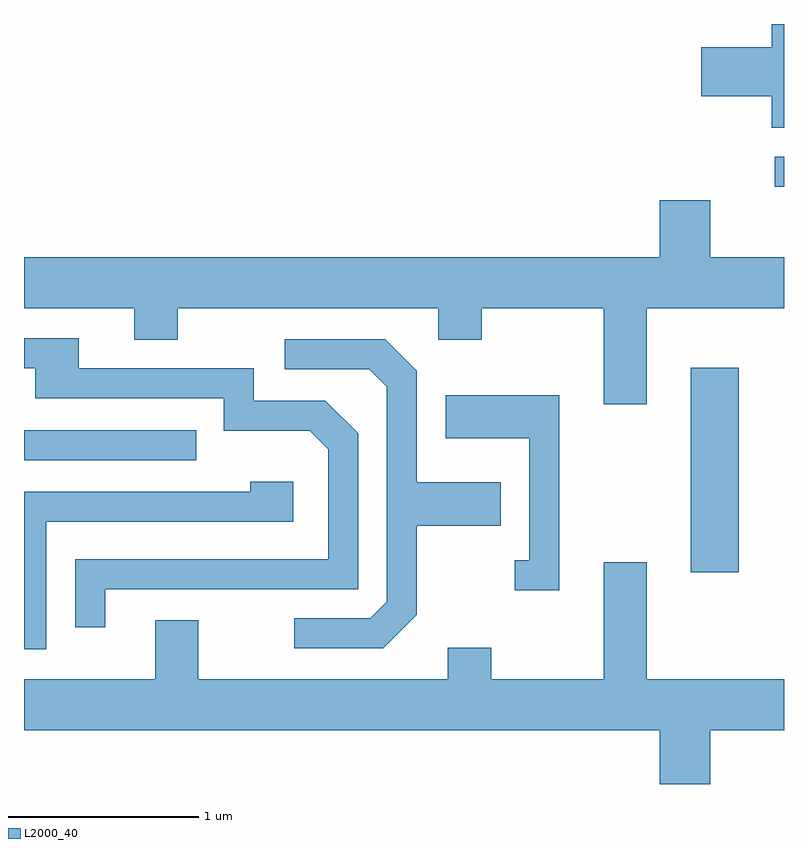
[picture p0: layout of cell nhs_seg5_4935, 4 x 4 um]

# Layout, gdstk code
import gdstk
lib = gdstk.Library(unit=1e-6, precision=1e-09)
def R(c, l, rs):  # rectangles x0, y0, x1, y1
    for r in rs: c.add(gdstk.rectangle(r[:2], r[2:], *l))
def P(c, l, *ps):  # polygons
    for p in ps: c.add(gdstk.Polygon(p, *l))
L2000_40 = (2000, 40)

nhs_seg5_4935 = lib.new_cell('nhs_seg5_4935')
R(nhs_seg5_4935, L2000_40, [(335.121,1453.186,335.374,1454.264), (331.611,1453.776,332.518,1453.934), (335.563,1455.216,335.611,1455.374)])
P(nhs_seg5_4935, L2000_40, [(335.611,1456.072),(335.546,1456.072),(335.546,1455.949),(335.176,1455.949),(335.176,1455.691),(335.546,1455.691),(335.546,1455.526),(335.611,1455.526)],
  [(334.889,1454.576),(335.611,1454.576),(335.611,1454.844),(335.224,1454.844),(335.224,1455.144),(334.956,1455.144),(334.956,1454.844),(331.611,1454.844),(331.611,1454.576),(332.191,1454.576),(332.191,1454.411),(332.419,1454.411),(332.419,1454.576),(333.791,1454.576),(333.791,1454.411),(334.019,1454.411),(334.019,1454.576),(334.661,1454.576),(334.661,1454.071),(334.889,1454.071)],
  [(332.039,1453.096),(333.369,1453.096),(333.369,1453.917),(333.197,1454.089),(332.819,1454.089),(332.819,1454.259),(331.899,1454.259),(331.899,1454.419),(331.611,1454.419),(331.611,1454.261),(331.671,1454.261),(331.671,1454.101),(332.661,1454.101),(332.661,1453.931),(333.114,1453.931),(333.211,1453.834),(333.211,1453.254),(331.881,1453.254),(331.881,1452.898),(332.039,1452.898)],
  [(333.679,1452.964),(333.679,1453.431),(334.119,1453.431),(334.119,1453.659),(333.679,1453.659),(333.679,1454.247),(333.512,1454.414),(332.983,1454.414),(332.983,1454.256),(333.429,1454.256),(333.521,1454.164),(333.521,1453.032),(333.434,1452.944),(333.033,1452.944),(333.033,1452.786),(333.502,1452.786)],
  [(334.429,1454.119),(333.831,1454.119),(333.831,1453.891),(334.271,1453.891),(334.271,1453.249),(334.193,1453.249),(334.193,1453.091),(334.429,1453.091)],
  [(331.729,1453.451),(333.029,1453.451),(333.029,1453.664),(332.801,1453.664),(332.801,1453.609),(331.611,1453.609),(331.611,1452.781),(331.729,1452.781)],
  [(335.224,1452.356),(335.611,1452.356),(335.611,1452.624),(334.889,1452.624),(334.889,1453.239),(334.661,1453.239),(334.661,1452.624),(334.069,1452.624),(334.069,1452.789),(333.841,1452.789),(333.841,1452.624),(332.529,1452.624),(332.529,1452.934),(332.301,1452.934),(332.301,1452.624),(331.611,1452.624),(331.611,1452.356),(334.956,1452.356),(334.956,1452.072),(335.224,1452.072)])

lib.write_gds('nhs_seg5_4935.gds')
